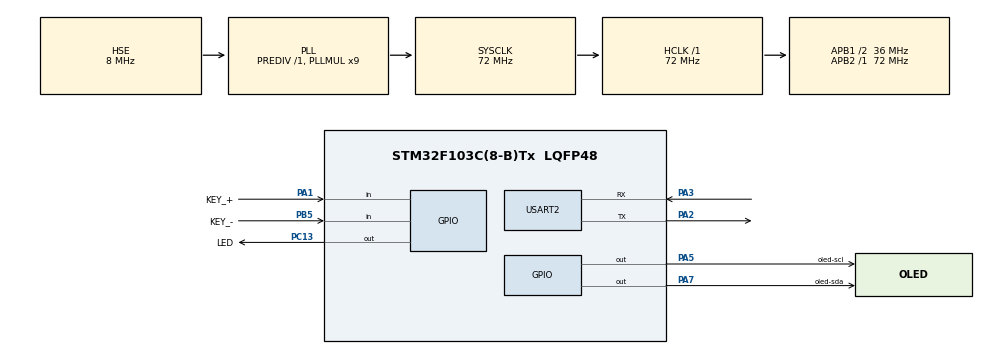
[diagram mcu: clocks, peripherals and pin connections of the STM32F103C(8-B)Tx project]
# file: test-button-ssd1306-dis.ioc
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Mcu.Family=STM32F1
Mcu.Name=STM32F103C(8-B)Tx
Mcu.Package=LQFP48
NVIC.PriorityGroup=NVIC_PRIORITYGROUP_4
NVIC.TIM1_UP_IRQn=true\:0\:0\:false\:false\:true\:true\:true\:true
NVIC.TIM2_IRQn=true\:0\:0\:false\:false\:true\:true\:true\:true
NVIC.USART2_IRQn=true\:0\:0\:false\:false\:true\:true\:true\:true
PA1.GPIO_Label=KEY_+
PA1.Signal=GPIO_Input
PA13.Mode=Serial_Wire
PA13.Signal=SYS_JTMS-SWDIO
PA14.Mode=Serial_Wire
PA14.Signal=SYS_JTCK-SWCLK
PA2.Mode=Asynchronous
PA2.Signal=USART2_TX
PA3.Mode=Asynchronous
PA3.Signal=USART2_RX
PA5.GPIO_Label=oled-scl
PA5.GPIO_Speed=GPIO_SPEED_FREQ_HIGH
PA5.PinState=GPIO_PIN_SET
PA5.Signal=GPIO_Output
PA7.GPIO_Label=oled-sda
PA7.GPIO_Speed=GPIO_SPEED_FREQ_HIGH
PA7.PinState=GPIO_PIN_SET
PA7.Signal=GPIO_Output
PB5.GPIO_Label=KEY_-
PB5.Signal=GPIO_Input
PC13-TAMPER-RTC.GPIO_Label=LED
PC13-TAMPER-RTC.GPIO_PuPd=GPIO_PULLUP
PC13-TAMPER-RTC.GPIO_Speed=GPIO_SPEED_FREQ_HIGH
PC13-TAMPER-RTC.PinState=GPIO_PIN_RESET
PC13-TAMPER-RTC.Signal=GPIO_Output
PC14-OSC32_IN.Mode=LSE-External-Oscillator
PC14-OSC32_IN.Signal=RCC_OSC32_IN
PC15-OSC32_OUT.Mode=LSE-External-Oscillator
PC15-OSC32_OUT.Signal=RCC_OSC32_OUT
PD0-OSC_IN.Mode=HSE-External-Oscillator
PD0-OSC_IN.Signal=RCC_OSC_IN
PD1-OSC_OUT.Mode=HSE-External-Oscillator
PD1-OSC_OUT.Signal=RCC_OSC_OUT
ProjectManager.HeapSize=0x200
ProjectManager.StackSize=0x400
ProjectManager.TargetToolchain=Makefile
RCC.AHBFreq_Value=72000000
RCC.APB1CLKDivider=RCC_HCLK_DIV2
RCC.APB1Freq_Value=36000000
RCC.APB1TimFreq_Value=72000000
RCC.APB2Freq_Value=72000000
RCC.APB2TimFreq_Value=72000000
RCC.HCLKFreq_Value=72000000
RCC.PLLMUL=RCC_PLL_MUL9
RCC.PLLSourceVirtual=RCC_PLLSOURCE_HSE
RCC.SYSCLKFreq_VALUE=72000000
RCC.SYSCLKSource=RCC_SYSCLKSOURCE_PLLCLK
RCC.USBFreq_Value=72000000
TIM1.AutoReloadPreload=TIM_AUTORELOAD_PRELOAD_ENABLE
TIM1.Prescaler=71
TIM2.Period=999
TIM2.Prescaler=7199
USART2.VirtualMode=VM_ASYNC
VP_TIM1_VS_ClockSourceINT.Mode=Internal
VP_TIM2_VS_ClockSourceINT.Mode=Internal
board=custom

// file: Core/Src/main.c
/* USER CODE BEGIN Header */
/**
  ******************************************************************************
  * @file           : main.c
  * @brief          : Main program body
  ******************************************************************************
  * @attention
  *
  * Copyright (c) 2026 STMicroelectronics.
  * All rights reserved.
  *
  * This software is licensed under terms that can be found in the LICENSE file
  * in the root directory of this software component.
  * If no LICENSE file comes with this software, it is provided AS-IS.
  *
  ******************************************************************************
  */
/* USER CODE END Header */
#include "main.h"
#include "tim.h"
#include "usart.h"
#include "gpio.h"
#include "../oled/driver_ssd1306_basic.h"

/* USER CODE BEGIN PD */
#define Oled_dis_Zhengxian 1
#define Oled_dis_Fanxian 2
/* USER CODE END PD */

/* USER CODE BEGIN PV */
  char buf[32] = {0};

/* USER CODE END PV */

void SystemClock_Config(void);

int main(void)
{

  /* MCU Configuration--------------------------------------------------------*/

  /* Reset of all peripherals, Initializes the Flash interface and the Systick. */
  HAL_Init();

  /* Configure the system clock */
  SystemClock_Config();

  /* Initialize all configured peripherals */
  MX_GPIO_Init();
  MX_TIM1_Init();
  MX_TIM2_Init();
  MX_USART2_UART_Init();
  /* USER CODE BEGIN 2 */
  HAL_TIM_Base_Start_IT(&htim1);
  HAL_TIM_Base_Start_IT(&htim2);
  ssd1306_basic_init(SSD1306_INTERFACE_IIC, SSD1306_ADDR_SA0_0);
  ssd1306_basic_display_on();
  snprintf(buf, sizeof(buf), "Ax:www Ay:yyy");
  ssd1306_basic_string(0, 0, buf, (uint16_t)strlen(buf), Oled_dis_Zhengxian, SSD1306_FONT_12);
  /* USER CODE END 2 */

  /* Infinite loop */
  while (1)
  {

  }
}

void SystemClock_Config(void)
{
  RCC_OscInitTypeDef RCC_OscInitStruct = {0};
  RCC_ClkInitTypeDef RCC_ClkInitStruct = {0};

  /** Initializes the RCC Oscillators according to the specified parameters
  * in the RCC_OscInitTypeDef structure.
  */
  RCC_OscInitStruct.OscillatorType = RCC_OSCILLATORTYPE_HSE;
  RCC_OscInitStruct.HSEState = RCC_HSE_ON;
  RCC_OscInitStruct.HSEPredivValue = RCC_HSE_PREDIV_DIV1;
  RCC_OscInitStruct.HSIState = RCC_HSI_ON;
  RCC_OscInitStruct.PLL.PLLState = RCC_PLL_ON;
  RCC_OscInitStruct.PLL.PLLSource = RCC_PLLSOURCE_HSE;
  RCC_OscInitStruct.PLL.PLLMUL = RCC_PLL_MUL9;
  if (HAL_RCC_OscConfig(&RCC_OscInitStruct) != HAL_OK)
  {
    Error_Handler();
  }

  /** Initializes the CPU, AHB and APB buses clocks
  */
  RCC_ClkInitStruct.ClockType = RCC_CLOCKTYPE_HCLK|RCC_CLOCKTYPE_SYSCLK
                              |RCC_CLOCKTYPE_PCLK1|RCC_CLOCKTYPE_PCLK2;
  RCC_ClkInitStruct.SYSCLKSource = RCC_SYSCLKSOURCE_PLLCLK;
  RCC_ClkInitStruct.AHBCLKDivider = RCC_SYSCLK_DIV1;
  RCC_ClkInitStruct.APB1CLKDivider = RCC_HCLK_DIV2;
  RCC_ClkInitStruct.APB2CLKDivider = RCC_HCLK_DIV1;

  if (HAL_RCC_ClockConfig(&RCC_ClkInitStruct, FLASH_LATENCY_2) != HAL_OK)
  {
    Error_Handler();
  }
}

/* USER CODE BEGIN 4 */
uint8_t time100ms = 0;

// ---- 完整复制下面这个函数 ----
void HAL_TIM_PeriodElapsedCallback(TIM_HandleTypeDef *htim)
{
  // 判断是不是 TIM2 中断
  if(htim->Instance == TIM2)
  {
    time100ms++;
    if(time100ms >= 10) // 100ms * 10 = 1s
    {
      time100ms = 0; // 重置计数

      // 1s 到：翻转 LED
      HAL_GPIO_TogglePin(GPIOC, GPIO_PIN_13);

      // 串口打印信息
      uint8_t msg[] = "TIM2 1s 中断：LED 翻转\r\n";
      HAL_UART_Transmit(&huart2, msg, sizeof(msg)-1, 100);
    }
  }
}

/* USER CODE END 4 */

void Error_Handler(void)
{
  __disable_irq();
  while (1)
  {
  }
}
